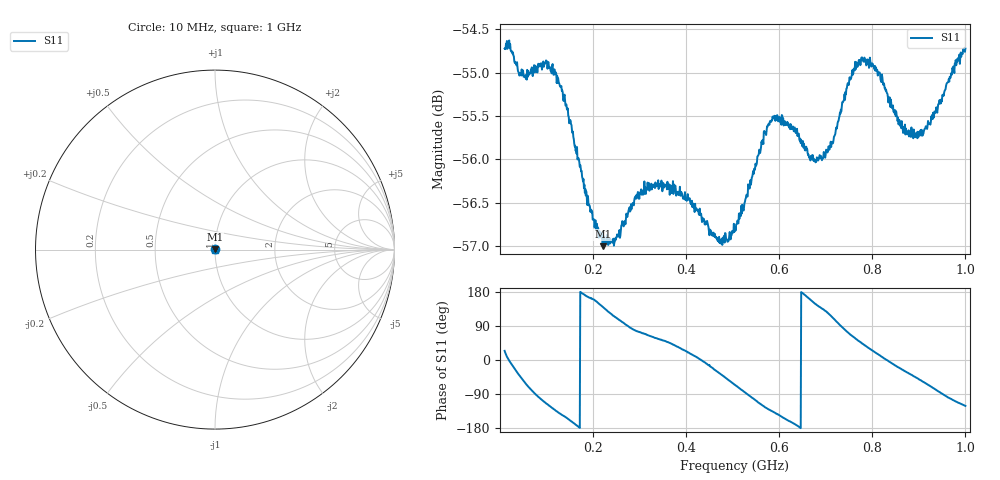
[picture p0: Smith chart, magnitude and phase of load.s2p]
! PocketVna 1.57  pocketvna.com
! Live measurements ((Reflection-S11) Linear 10000000-1000000000/1000 non-calibrated)
# Hz S RI R 50
! Hz  ReS11  ImS11  ReS21  ImS21  ReS12  ImS12  ReS22  ImS22
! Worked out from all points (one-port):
!   1000 points, 10 MHz to 1 GHz, reference 50 ohm
!   lowest |S11| = -57.0 dB at 221.1 MHz (marker M1), VSWR 1.00, Z = 49.9 + j0.0904 ohm
!   |S11| at or under -10 dB: start of sweep to end of sweep
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1e7  0.00168 0.000752  0 0  0 0  0 0
5.261261e7  0.000934 -0.0015  0 0  0 0  0 0
1.16036e8  -0.00114 -0.00136  0 0  0 0  0 0
1.754955e8  -0.00156 7.88e-05  0 0  0 0  0 0
2.210811e8  -0.00108 0.000906  0 0  0 0  0 0
2.458559e8  -0.000594 0.00129  0 0  0 0  0 0
2.934234e8  0.000361 0.00147  0 0  0 0  0 0
3.40991e8  0.000862 0.00126  0 0  0 0  0 0
4.073874e8  0.00143 0.000467  0 0  0 0  0 0
4.727928e8  0.00115 -0.000836  0 0  0 0  0 0
5.054955e8  0.000582 -0.00133  0 0  0 0  0 0
5.847748e8  -0.00119 -0.00117  0 0  0 0  0 0
6.333333e8  -0.00162 -0.000313  0 0  0 0  0 0
6.70991e8  -0.00143 0.000684  0 0  0 0  0 0
7.126126e8  -0.00067 0.00148  0 0  0 0  0 0
7.472973e8  0.000514 0.00168  0 0  0 0  0 0
7.740541e8  0.00121 0.00133  0 0  0 0  0 0
8.047748e8  0.00167 0.000637  0 0  0 0  0 0
8.354955e8  0.00172 -0.000112  0 0  0 0  0 0
8.701802e8  0.00144 -0.000823  0 0  0 0  0 0
9.038739e8  0.000985 -0.00132  0 0  0 0  0 0
1e9  -0.000951 -0.00157  0 0  0 0  0 0
